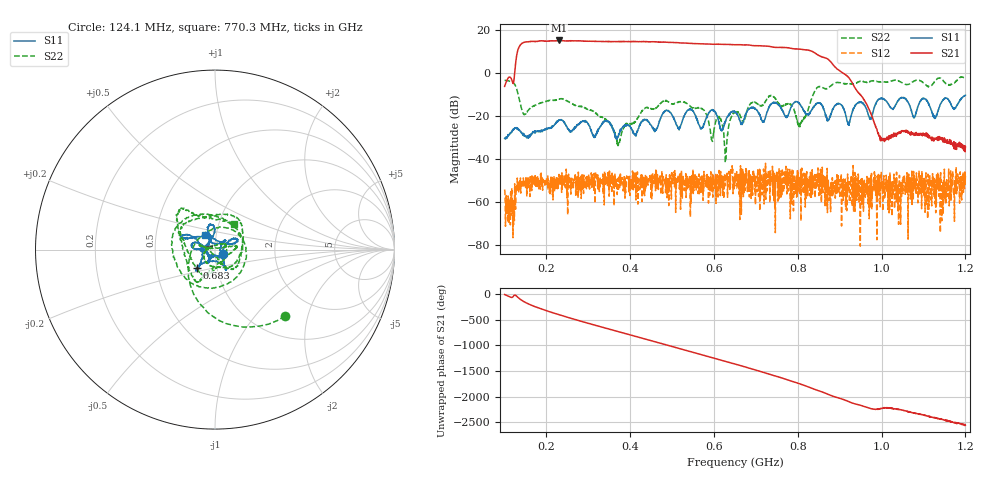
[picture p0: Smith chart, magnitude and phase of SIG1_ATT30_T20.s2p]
# Hz S DB R 50
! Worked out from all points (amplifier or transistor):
!   1601 points, 100 MHz to 1.2 GHz, reference 50 ohm
!   highest |S21| = 15.0 dB at 229.2 MHz (marker M1)
!   |S21| within 3 dB of that: 134.6 MHz to 738 MHz (603.4 MHz wide, 138 % of centre) (the widest 1 of 2)
!   unconditionally stable (mu >= 1): start of sweep to end of sweep
!   at 282.9 MHz: K = 73.08, MAG = 14.9 dB, |S12| = -58.3 dB
!   at 650 MHz: K = 23.81, MAG = 13.1 dB, |S12| = -46.8 dB
!   at 1.2 GHz: K = 3034.47, MAG = -31.1 dB, |S12| = -47.9 dB
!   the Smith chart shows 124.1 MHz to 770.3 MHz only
!   S11 on the Smith chart (normalised r, x): 124.1 MHz: 1.09, -0.06; 683 MHz: 0.80, -0.16; 770.3 MHz: 0.89, +0.14
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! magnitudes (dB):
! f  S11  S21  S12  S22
! 100 MHz  -30.5  -6.3  -54.2  -3.6
! 124.1 MHz  -25.5  0.0  -51.6  -5.4
! 147.4 MHz  -28.9  14.1  -52.8  -19.5
! 229.2 MHz  -22.2  15.0  -51.9  -12.3
! 283.6 MHz  -22.9  14.7  -48.1  -15.8
! 370.9 MHz  -29.5  14.4  -51.6  -33.9
! 467.1 MHz  -24.2  14.3  -54.2  -15.2
! 542.8 MHz  -17.1  13.6  -49.2  -15.5
! 570.2 MHz  -26.0  13.4  -48.1  -16.5
! 595 MHz  -17.4  13.2  -51.3  -31.3
! 612.2 MHz  -23.9  13.2  -45.3  -21.0
! 627.3 MHz  -22.3  13.1  -49.7  -41.3
! 650 MHz  -18.3  13.0  -46.8  -18.4
! 683 MHz  -17.0  12.8  -51.4  -15.3
! 770.3 MHz  -20.4  11.7  -47.5  -15.0
! 804.7 MHz  -14.6  10.9  -56.1  -25.1
! 833.6 MHz  -17.1  10.0  -49.9  -11.6
! 920.9 MHz  -24.3  -2.1  -54.2  -5.0
! 1.017 GHz  -15.0  -29.4  -48.3  -4.2
! 1.102 GHz  -12.1  -29.2  -51.7  -5.1
! 1.127 GHz  -21.3  -30.5  -60.0  -4.1
! 1.2 GHz  -10.5  -34.5  -47.9  -3.1
